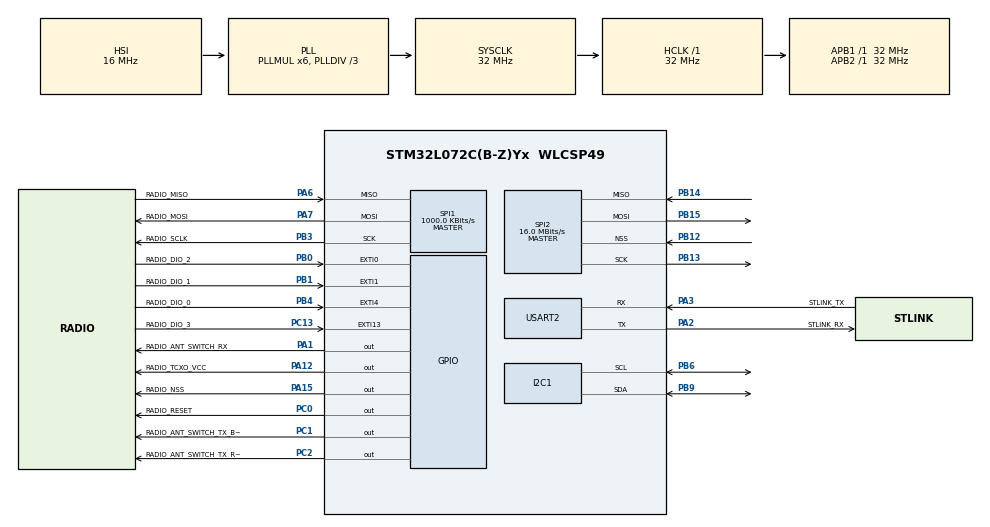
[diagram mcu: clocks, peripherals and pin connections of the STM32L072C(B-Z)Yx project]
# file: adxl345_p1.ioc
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I2C1.Timing=0x00707CBB
Mcu.Family=STM32L0
Mcu.Name=STM32L072C(B-Z)Yx
Mcu.Package=WLCSP49
NVIC.EXTI0_1_IRQn=true\:0\:0\:false\:false\:true\:true
NVIC.EXTI4_15_IRQn=true\:0\:0\:false\:false\:true\:true
NVIC.RTC_IRQn=true\:0\:0\:false\:false\:true\:true
NVIC.USART2_IRQn=true\:0\:0\:false\:false\:true\:true
PA1.GPIO_Label=RADIO_ANT_SWITCH_RX
PA1.GPIO_Speed=GPIO_SPEED_FREQ_HIGH
PA1.PinState=GPIO_PIN_RESET
PA1.Signal=GPIO_Output
PA12.GPIO_Label=RADIO_TCXO_VCC
PA12.GPIO_Speed=GPIO_SPEED_FREQ_HIGH
PA12.Signal=GPIO_Output
PA15.GPIO_Label=RADIO_NSS
PA15.GPIO_Speed=GPIO_SPEED_FREQ_HIGH
PA15.Signal=GPIO_Output
PA2.GPIO_Label=STLINK_RX
PA2.Mode=Asynchronous
PA2.Signal=USART2_TX
PA3.GPIO_Label=STLINK_TX
PA3.Mode=Asynchronous
PA3.Signal=USART2_RX
PA6.GPIO_Label=RADIO_MISO
PA6.Mode=Full_Duplex_Master
PA6.Signal=SPI1_MISO
PA7.GPIO_Label=RADIO_MOSI
PA7.Mode=Full_Duplex_Master
PA7.Signal=SPI1_MOSI
PB0.GPIO_Label=RADIO_DIO_2
PB0.Signal=GPXTI0
PB1.GPIO_Label=RADIO_DIO_1
PB1.Signal=GPXTI1
PB12.Mode=NSS_Signal_Hard_Input
PB12.Signal=SPI2_NSS
PB13.Mode=Full_Duplex_Master
PB13.Signal=SPI2_SCK
PB14.Mode=Full_Duplex_Master
PB14.Signal=SPI2_MISO
PB15.Mode=Full_Duplex_Master
PB15.Signal=SPI2_MOSI
PB3.GPIO_Label=RADIO_SCLK
PB3.Mode=Full_Duplex_Master
PB3.Signal=SPI1_SCK
PB4.GPIO_Label=RADIO_DIO_0
PB4.Signal=GPXTI4
PB6.Mode=I2C
PB6.Signal=I2C1_SCL
PB9.Mode=I2C
PB9.Signal=I2C1_SDA
PC0.GPIO_Label=RADIO_RESET
PC0.GPIO_Speed=GPIO_SPEED_FREQ_HIGH
PC0.Signal=GPIO_Output
PC1.GPIO_Label=RADIO_ANT_SWITCH_TX_BOOST
PC1.GPIO_Speed=GPIO_SPEED_FREQ_HIGH
PC1.Signal=GPIO_Output
PC13.GPIO_Label=RADIO_DIO_3
PC13.Signal=GPXTI13
PC2.GPIO_Label=RADIO_ANT_SWITCH_TX_RFO
PC2.GPIO_Speed=GPIO_SPEED_FREQ_HIGH
PC2.Signal=GPIO_Output
PH0-OSC_IN.Signal=RCC_OSC_IN
PH1-OSC_OUT.Signal=RCC_OSC_OUT
ProjectManager.HeapSize=0x200
ProjectManager.StackSize=0x400
ProjectManager.TargetToolchain=TrueSTUDIO
RCC.AHBFreq_Value=32000000
RCC.APB1Freq_Value=32000000
RCC.APB1TimFreq_Value=32000000
RCC.APB2Freq_Value=32000000
RCC.APB2TimFreq_Value=32000000
RCC.HCLKFreq_Value=32000000
RCC.HSE_VALUE=8000000
RCC.HSI16_VALUE=16000000
RCC.HSI48_VALUE=48000000
RCC.HSI_VALUE=16000000
RCC.LSE_VALUE=32768
RCC.MSI_VALUE=2097000
RCC.PLLDIV=RCC_PLLDIV_3
RCC.PLLMUL=RCC_PLLMUL_6
RCC.SYSCLKFreq_VALUE=32000000
RCC.SYSCLKSource=RCC_SYSCLKSOURCE_PLLCLK
RCC.VCOOutputFreq_Value=96000000
RTC.Alarm-Alarm\ A=RTC_ALARM_A
RTC.AlarmSubSecondMask-Alarm\ A=RTC_ALARMSUBSECONDMASK_NONE
RTC.AsynchPrediv=31
RTC.Format=RTC_FORMAT_BIN
RTC.SynchPrediv=1023
SPI1.BaudRatePrescaler=SPI_BAUDRATEPRESCALER_32
SPI1.CalculateBaudRate=1000.0 KBits/s
SPI1.Direction=SPI_DIRECTION_2LINES
SPI1.Mode=SPI_MODE_MASTER
SPI1.VirtualType=VM_MASTER
SPI2.BaudRatePrescaler=SPI_BAUDRATEPRESCALER_2
SPI2.CalculateBaudRate=16.0 MBits/s
SPI2.Direction=SPI_DIRECTION_2LINES
SPI2.Mode=SPI_MODE_MASTER
SPI2.VirtualNSS=VM_NSSHARD
SPI2.VirtualType=VM_MASTER
USART2.VirtualMode-Asynchronous=VM_ASYNC
VP_RTC_VS_RTC_Activate.Mode=RTC_Enabled
VP_RTC_VS_RTC_Alarm_A_Intern.Mode=Alarm A
VP_RTC_VS_RTC_Calendar.Mode=RTC_Calendar
board=B-L072Z-LRWAN1

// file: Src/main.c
/* USER CODE BEGIN Header */
/**
  ******************************************************************************
  * @file           : main.c
  * @brief          : Main program body
  ******************************************************************************
  ** This notice applies to any and all portions of this file
  * that are not between comment pairs USER CODE BEGIN and
  * USER CODE END. Other portions of this file, whether
  * inserted by the user or by software development tools
  * are owned by their respective copyright owners.
  *
  * COPYRIGHT(c) 2019 STMicroelectronics
  *
  * Redistribution and use in source and binary forms, with or without modification,
  * are permitted provided that the following conditions are met:
  *   1. Redistributions of source code must retain the above copyright notice,
  *      this list of conditions and the following disclaimer.
  *   2. Redistributions in binary form must reproduce the above copyright notice,
  *      this list of conditions and the following disclaimer in the documentation
  *      and/or other materials provided with the distribution.
  *   3. Neither the name of STMicroelectronics nor the names of its contributors
  *      may be used to endorse or promote products derived from this software
  *      without specific prior written permission.
  *
  * THIS SOFTWARE IS PROVIDED BY THE COPYRIGHT HOLDERS AND CONTRIBUTORS "AS IS"
  * AND ANY EXPRESS OR IMPLIED WARRANTIES, INCLUDING, BUT NOT LIMITED TO, THE
  * IMPLIED WARRANTIES OF MERCHANTABILITY AND FITNESS FOR A PARTICULAR PURPOSE ARE
  * DISCLAIMED. IN NO EVENT SHALL THE COPYRIGHT HOLDER OR CONTRIBUTORS BE LIABLE
  * FOR ANY DIRECT, INDIRECT, INCIDENTAL, SPECIAL, EXEMPLARY, OR CONSEQUENTIAL
  * DAMAGES (INCLUDING, BUT NOT LIMITED TO, PROCUREMENT OF SUBSTITUTE GOODS OR
  * SERVICES; LOSS OF USE, DATA, OR PROFITS; OR BUSINESS INTERRUPTION) HOWEVER
  * CAUSED AND ON ANY THEORY OF LIABILITY, WHETHER IN CONTRACT, STRICT LIABILITY,
  * OR TORT (INCLUDING NEGLIGENCE OR OTHERWISE) ARISING IN ANY WAY OUT OF THE USE
  * OF THIS SOFTWARE, EVEN IF ADVISED OF THE POSSIBILITY OF SUCH DAMAGE.
  *
  ******************************************************************************
  */
/* USER CODE END Header */

#include "main.h"

/* USER CODE BEGIN PD */
#define DeviceAdr  0xA6
/* USER CODE END PD */

I2C_HandleTypeDef hi2c1;

RTC_HandleTypeDef hrtc;

SPI_HandleTypeDef hspi1;
SPI_HandleTypeDef hspi2;

UART_HandleTypeDef huart2;

void SystemClock_Config(void);
static void MX_GPIO_Init(void);
static void MX_RTC_Init(void);
static void MX_SPI1_Init(void);
static void MX_SPI2_Init(void);
static void MX_USART2_UART_Init(void);
static void MX_I2C1_Init(void);

/* USER CODE BEGIN 0 */
uint8_t i;
uint8_t i2cBuf[];
uint8_t i2cBuf1[];
uint8_t i2cBuf2[];
uint8_t data_rec[];
int x,y,z;

void adxl_read_values (uint8_t reg)
{
  HAL_I2C_Mem_Read (&hi2c1, DeviceAdr, reg, 1, (uint8_t *)data_rec, 6, 100);
}
/* USER CODE END 0 */

int main(void)
{

  /* MCU Configuration--------------------------------------------------------*/

  /* Reset of all peripherals, Initializes the Flash interface and the Systick. */
  HAL_Init();

  /* Configure the system clock */
  SystemClock_Config();

  /* Initialize all configured peripherals */
  MX_GPIO_Init();
  MX_RTC_Init();
  MX_SPI1_Init();
  MX_SPI2_Init();
  MX_USART2_UART_Init();
  MX_I2C1_Init();
  /* USER CODE BEGIN 2 */
  /*
  for (i= 0; i < 255; i++) {
  	if(HAL_I2C_IsDeviceReady(&hi2c1,i,1,10) == HAL_OK)
  	{
  		HAL_GPIO_TogglePin(GPIOB, GPIO_PIN_5);
  		break;

  	}
  }
  */
  i2cBuf[0] = 0x2D;
  i2cBuf[1] = 0x00;
  i2cBuf1[0] = 0x31;
  i2cBuf1[1] = 0x01;
  i2cBuf2[0] = 0x2d;
  i2cBuf2[1] = 0x08;
  HAL_I2C_Master_Transmit(&hi2c1,DeviceAdr,i2cBuf,2,10);
  HAL_I2C_Master_Transmit(&hi2c1,DeviceAdr,i2cBuf1,2,10);
  HAL_I2C_Master_Transmit(&hi2c1,DeviceAdr,i2cBuf2,2,10);
  /* USER CODE END 2 */

  /* Infinite loop */
  while (1)
  {
	  adxl_read_values (0x32);
	  HAL_UART_Transmit_IT(&huart2,data_rec,6);
  }
}

void SystemClock_Config(void)
{
  RCC_OscInitTypeDef RCC_OscInitStruct = {0};
  RCC_ClkInitTypeDef RCC_ClkInitStruct = {0};
  RCC_PeriphCLKInitTypeDef PeriphClkInit = {0};

  /**Configure the main internal regulator output voltage
  */
  __HAL_PWR_VOLTAGESCALING_CONFIG(PWR_REGULATOR_VOLTAGE_SCALE1);
  /**Initializes the CPU, AHB and APB busses clocks
  */
  RCC_OscInitStruct.OscillatorType = RCC_OSCILLATORTYPE_HSI|RCC_OSCILLATORTYPE_LSI;
  RCC_OscInitStruct.HSIState = RCC_HSI_ON;
  RCC_OscInitStruct.HSICalibrationValue = RCC_HSICALIBRATION_DEFAULT;
  RCC_OscInitStruct.LSIState = RCC_LSI_ON;
  RCC_OscInitStruct.PLL.PLLState = RCC_PLL_ON;
  RCC_OscInitStruct.PLL.PLLSource = RCC_PLLSOURCE_HSI;
  RCC_OscInitStruct.PLL.PLLMUL = RCC_PLLMUL_6;
  RCC_OscInitStruct.PLL.PLLDIV = RCC_PLLDIV_3;
  if (HAL_RCC_OscConfig(&RCC_OscInitStruct) != HAL_OK)
  {
    Error_Handler();
  }
  /**Initializes the CPU, AHB and APB busses clocks
  */
  RCC_ClkInitStruct.ClockType = RCC_CLOCKTYPE_HCLK|RCC_CLOCKTYPE_SYSCLK
                              |RCC_CLOCKTYPE_PCLK1|RCC_CLOCKTYPE_PCLK2;
  RCC_ClkInitStruct.SYSCLKSource = RCC_SYSCLKSOURCE_PLLCLK;
  RCC_ClkInitStruct.AHBCLKDivider = RCC_SYSCLK_DIV1;
  RCC_ClkInitStruct.APB1CLKDivider = RCC_HCLK_DIV1;
  RCC_ClkInitStruct.APB2CLKDivider = RCC_HCLK_DIV1;

  if (HAL_RCC_ClockConfig(&RCC_ClkInitStruct, FLASH_LATENCY_1) != HAL_OK)
  {
    Error_Handler();
  }
  PeriphClkInit.PeriphClockSelection = RCC_PERIPHCLK_USART2|RCC_PERIPHCLK_I2C1
                              |RCC_PERIPHCLK_RTC;
  PeriphClkInit.Usart2ClockSelection = RCC_USART2CLKSOURCE_PCLK1;
  PeriphClkInit.I2c1ClockSelection = RCC_I2C1CLKSOURCE_PCLK1;
  PeriphClkInit.RTCClockSelection = RCC_RTCCLKSOURCE_LSI;
  if (HAL_RCCEx_PeriphCLKConfig(&PeriphClkInit) != HAL_OK)
  {
    Error_Handler();
  }
}

static void MX_I2C1_Init(void)
{

  hi2c1.Instance = I2C1;
  hi2c1.Init.Timing = 0x00707CBB;
  hi2c1.Init.OwnAddress1 = 0;
  hi2c1.Init.AddressingMode = I2C_ADDRESSINGMODE_7BIT;
  hi2c1.Init.DualAddressMode = I2C_DUALADDRESS_DISABLE;
  hi2c1.Init.OwnAddress2 = 0;
  hi2c1.Init.OwnAddress2Masks = I2C_OA2_NOMASK;
  hi2c1.Init.GeneralCallMode = I2C_GENERALCALL_DISABLE;
  hi2c1.Init.NoStretchMode = I2C_NOSTRETCH_DISABLE;
  if (HAL_I2C_Init(&hi2c1) != HAL_OK)
  {
    Error_Handler();
  }
  /**Configure Analogue filter
  */
  if (HAL_I2CEx_ConfigAnalogFilter(&hi2c1, I2C_ANALOGFILTER_ENABLE) != HAL_OK)
  {
    Error_Handler();
  }
  /**Configure Digital filter
  */
  if (HAL_I2CEx_ConfigDigitalFilter(&hi2c1, 0) != HAL_OK)
  {
    Error_Handler();
  }

}

static void MX_RTC_Init(void)
{

  RTC_TimeTypeDef sTime = {0};
  RTC_DateTypeDef sDate = {0};
  RTC_AlarmTypeDef sAlarm = {0};

  /**Initialize RTC Only
  */
  hrtc.Instance = RTC;
  hrtc.Init.HourFormat = RTC_HOURFORMAT_24;
  hrtc.Init.AsynchPrediv = 31;
  hrtc.Init.SynchPrediv = 1023;
  hrtc.Init.OutPut = RTC_OUTPUT_DISABLE;
  hrtc.Init.OutPutRemap = RTC_OUTPUT_REMAP_NONE;
  hrtc.Init.OutPutPolarity = RTC_OUTPUT_POLARITY_HIGH;
  hrtc.Init.OutPutType = RTC_OUTPUT_TYPE_OPENDRAIN;
  if (HAL_RTC_Init(&hrtc) != HAL_OK)
  {
    Error_Handler();
  }

  /**Initialize RTC and set the Time and Date
  */
  sTime.Hours = 0;
  sTime.Minutes = 0;
  sTime.Seconds = 0;
  sTime.DayLightSaving = RTC_DAYLIGHTSAVING_NONE;
  sTime.StoreOperation = RTC_STOREOPERATION_RESET;
  if (HAL_RTC_SetTime(&hrtc, &sTime, RTC_FORMAT_BIN) != HAL_OK)
  {
    Error_Handler();
  }
  sDate.WeekDay = RTC_WEEKDAY_MONDAY;
  sDate.Month = RTC_MONTH_JANUARY;
  sDate.Date = 1;
  sDate.Year = 0;

  if (HAL_RTC_SetDate(&hrtc, &sDate, RTC_FORMAT_BIN) != HAL_OK)
  {
    Error_Handler();
  }
  /**Enable the Alarm A
  */
  sAlarm.AlarmTime.Hours = 0;
  sAlarm.AlarmTime.Minutes = 0;
  sAlarm.AlarmTime.Seconds = 0;
  sAlarm.AlarmTime.SubSeconds = 0;
  sAlarm.AlarmTime.DayLightSaving = RTC_DAYLIGHTSAVING_NONE;
  sAlarm.AlarmTime.StoreOperation = RTC_STOREOPERATION_RESET;
  sAlarm.AlarmMask = RTC_ALARMMASK_NONE;
  sAlarm.AlarmSubSecondMask = RTC_ALARMSUBSECONDMASK_NONE;
  sAlarm.AlarmDateWeekDaySel = RTC_ALARMDATEWEEKDAYSEL_DATE;
  sAlarm.AlarmDateWeekDay = 1;
  sAlarm.Alarm = RTC_ALARM_A;
  if (HAL_RTC_SetAlarm_IT(&hrtc, &sAlarm, RTC_FORMAT_BIN) != HAL_OK)
  {
    Error_Handler();
  }

}

static void MX_SPI1_Init(void)
{

  /* SPI1 parameter configuration*/
  hspi1.Instance = SPI1;
  hspi1.Init.Mode = SPI_MODE_MASTER;
  hspi1.Init.Direction = SPI_DIRECTION_2LINES;
  hspi1.Init.DataSize = SPI_DATASIZE_8BIT;
  hspi1.Init.CLKPolarity = SPI_POLARITY_LOW;
  hspi1.Init.CLKPhase = SPI_PHASE_1EDGE;
  hspi1.Init.NSS = SPI_NSS_SOFT;
  hspi1.Init.BaudRatePrescaler = SPI_BAUDRATEPRESCALER_32;
  hspi1.Init.FirstBit = SPI_FIRSTBIT_MSB;
  hspi1.Init.TIMode = SPI_TIMODE_DISABLE;
  hspi1.Init.CRCCalculation = SPI_CRCCALCULATION_DISABLE;
  hspi1.Init.CRCPolynomial = 7;
  if (HAL_SPI_Init(&hspi1) != HAL_OK)
  {
    Error_Handler();
  }

}

static void MX_SPI2_Init(void)
{

  /* SPI2 parameter configuration*/
  hspi2.Instance = SPI2;
  hspi2.Init.Mode = SPI_MODE_MASTER;
  hspi2.Init.Direction = SPI_DIRECTION_2LINES;
  hspi2.Init.DataSize = SPI_DATASIZE_8BIT;
  hspi2.Init.CLKPolarity = SPI_POLARITY_LOW;
  hspi2.Init.CLKPhase = SPI_PHASE_1EDGE;
  hspi2.Init.NSS = SPI_NSS_HARD_INPUT;
  hspi2.Init.BaudRatePrescaler = SPI_BAUDRATEPRESCALER_2;
  hspi2.Init.FirstBit = SPI_FIRSTBIT_MSB;
  hspi2.Init.TIMode = SPI_TIMODE_DISABLE;
  hspi2.Init.CRCCalculation = SPI_CRCCALCULATION_DISABLE;
  hspi2.Init.CRCPolynomial = 7;
  if (HAL_SPI_Init(&hspi2) != HAL_OK)
  {
    Error_Handler();
  }

}

static void MX_USART2_UART_Init(void)
{

  huart2.Instance = USART2;
  huart2.Init.BaudRate = 115200;
  huart2.Init.WordLength = UART_WORDLENGTH_8B;
  huart2.Init.StopBits = UART_STOPBITS_1;
  huart2.Init.Parity = UART_PARITY_NONE;
  huart2.Init.Mode = UART_MODE_TX_RX;
  huart2.Init.HwFlowCtl = UART_HWCONTROL_NONE;
  huart2.Init.OverSampling = UART_OVERSAMPLING_16;
  huart2.Init.OneBitSampling = UART_ONE_BIT_SAMPLE_DISABLE;
  huart2.AdvancedInit.AdvFeatureInit = UART_ADVFEATURE_NO_INIT;
  if (HAL_UART_Init(&huart2) != HAL_OK)
  {
    Error_Handler();
  }

}

static void MX_GPIO_Init(void)
{
  GPIO_InitTypeDef GPIO_InitStruct = {0};

  /* GPIO Ports Clock Enable */
  __HAL_RCC_GPIOA_CLK_ENABLE();
  __HAL_RCC_GPIOB_CLK_ENABLE();
  __HAL_RCC_GPIOC_CLK_ENABLE();
  __HAL_RCC_GPIOH_CLK_ENABLE();

  /*Configure GPIO pin Output Level */
  HAL_GPIO_WritePin(GPIOA, RADIO_NSS_Pin|RADIO_TCXO_VCC_Pin|RADIO_ANT_SWITCH_RX_Pin, GPIO_PIN_RESET);

  /*Configure GPIO pin Output Level */
  HAL_GPIO_WritePin(GPIOC, RADIO_ANT_SWITCH_TX_BOOST_Pin|RADIO_RESET_Pin|RADIO_ANT_SWITCH_TX_RFO_Pin, GPIO_PIN_RESET);

  /*Configure GPIO pins : RADIO_NSS_Pin RADIO_TCXO_VCC_Pin RADIO_ANT_SWITCH_RX_Pin */
  GPIO_InitStruct.Pin = RADIO_NSS_Pin|RADIO_TCXO_VCC_Pin|RADIO_ANT_SWITCH_RX_Pin;
  GPIO_InitStruct.Mode = GPIO_MODE_OUTPUT_PP;
  GPIO_InitStruct.Pull = GPIO_NOPULL;
  GPIO_InitStruct.Speed = GPIO_SPEED_FREQ_HIGH;
  HAL_GPIO_Init(GPIOA, &GPIO_InitStruct);

  /*Configure GPIO pins : RADIO_DIO_0_Pin RADIO_DIO_1_Pin RADIO_DIO_2_Pin */
  GPIO_InitStruct.Pin = RADIO_DIO_0_Pin|RADIO_DIO_1_Pin|RADIO_DIO_2_Pin;
  GPIO_InitStruct.Mode = GPIO_MODE_IT_RISING;
  GPIO_InitStruct.Pull = GPIO_NOPULL;
  HAL_GPIO_Init(GPIOB, &GPIO_InitStruct);

  /*Configure GPIO pin : RADIO_DIO_3_Pin */
  GPIO_InitStruct.Pin = RADIO_DIO_3_Pin;
  GPIO_InitStruct.Mode = GPIO_MODE_IT_RISING;
  GPIO_InitStruct.Pull = GPIO_NOPULL;
  HAL_GPIO_Init(RADIO_DIO_3_GPIO_Port, &GPIO_InitStruct);

  /*Configure GPIO pins : RADIO_ANT_SWITCH_TX_BOOST_Pin RADIO_RESET_Pin RADIO_ANT_SWITCH_TX_RFO_Pin */
  GPIO_InitStruct.Pin = RADIO_ANT_SWITCH_TX_BOOST_Pin|RADIO_RESET_Pin|RADIO_ANT_SWITCH_TX_RFO_Pin;
  GPIO_InitStruct.Mode = GPIO_MODE_OUTPUT_PP;
  GPIO_InitStruct.Pull = GPIO_NOPULL;
  GPIO_InitStruct.Speed = GPIO_SPEED_FREQ_HIGH;
  HAL_GPIO_Init(GPIOC, &GPIO_InitStruct);

  /* EXTI interrupt init*/
  HAL_NVIC_SetPriority(EXTI0_1_IRQn, 0, 0);
  HAL_NVIC_EnableIRQ(EXTI0_1_IRQn);

  HAL_NVIC_SetPriority(EXTI4_15_IRQn, 0, 0);
  HAL_NVIC_EnableIRQ(EXTI4_15_IRQn);

}

void Error_Handler(void)
{
}

/************************ (C) COPYRIGHT STMicroelectronics *****END OF FILE****/
